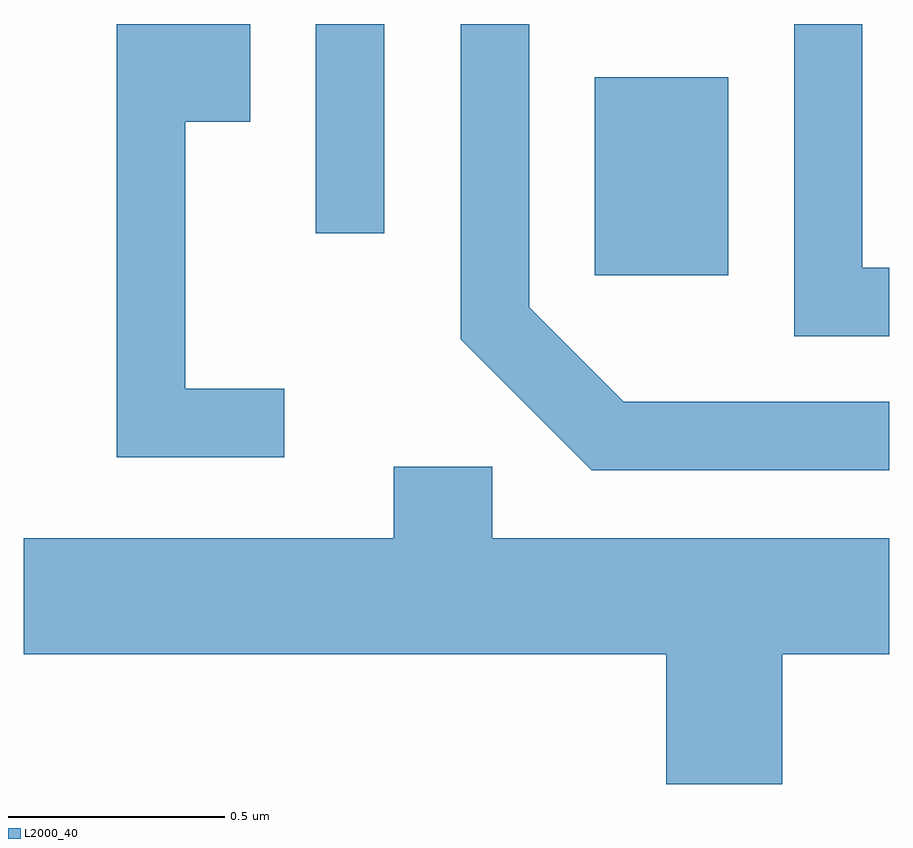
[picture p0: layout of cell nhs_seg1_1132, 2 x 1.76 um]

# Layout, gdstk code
import gdstk
lib = gdstk.Library(unit=1e-6, precision=1e-09)
def R(c, l, rs):  # rectangles x0, y0, x1, y1
    for r in rs: c.add(gdstk.rectangle(r[:2], r[2:], *l))
def P(c, l, *ps):  # polygons
    for p in ps: c.add(gdstk.Polygon(p, *l))
L2000_40 = (2000, 40)

nhs_seg1_1132 = lib.new_cell('nhs_seg1_1132')
R(nhs_seg1_1132, L2000_40, [(194.931,887.131,195.239,887.589), (194.286,887.228,194.444,887.712)])
P(nhs_seg1_1132, L2000_40, [(195.611,887.149),(195.549,887.149),(195.549,887.712),(195.391,887.712),(195.391,886.991),(195.611,886.991)],
  [(195.611,886.839),(194.997,886.839),(194.779,887.057),(194.779,887.712),(194.621,887.712),(194.621,886.984),(194.924,886.681),(195.611,886.681)],
  [(194.213,886.869),(193.984,886.869),(193.984,887.486),(194.134,887.486),(194.134,887.712),(193.826,887.712),(193.826,886.711),(194.213,886.711)],
  [(195.364,886.256),(195.611,886.256),(195.611,886.524),(194.694,886.524),(194.694,886.689),(194.466,886.689),(194.466,886.524),(193.611,886.524),(193.611,886.256),(195.096,886.256),(195.096,885.956),(195.364,885.956)])

lib.write_gds('nhs_seg1_1132.gds')
